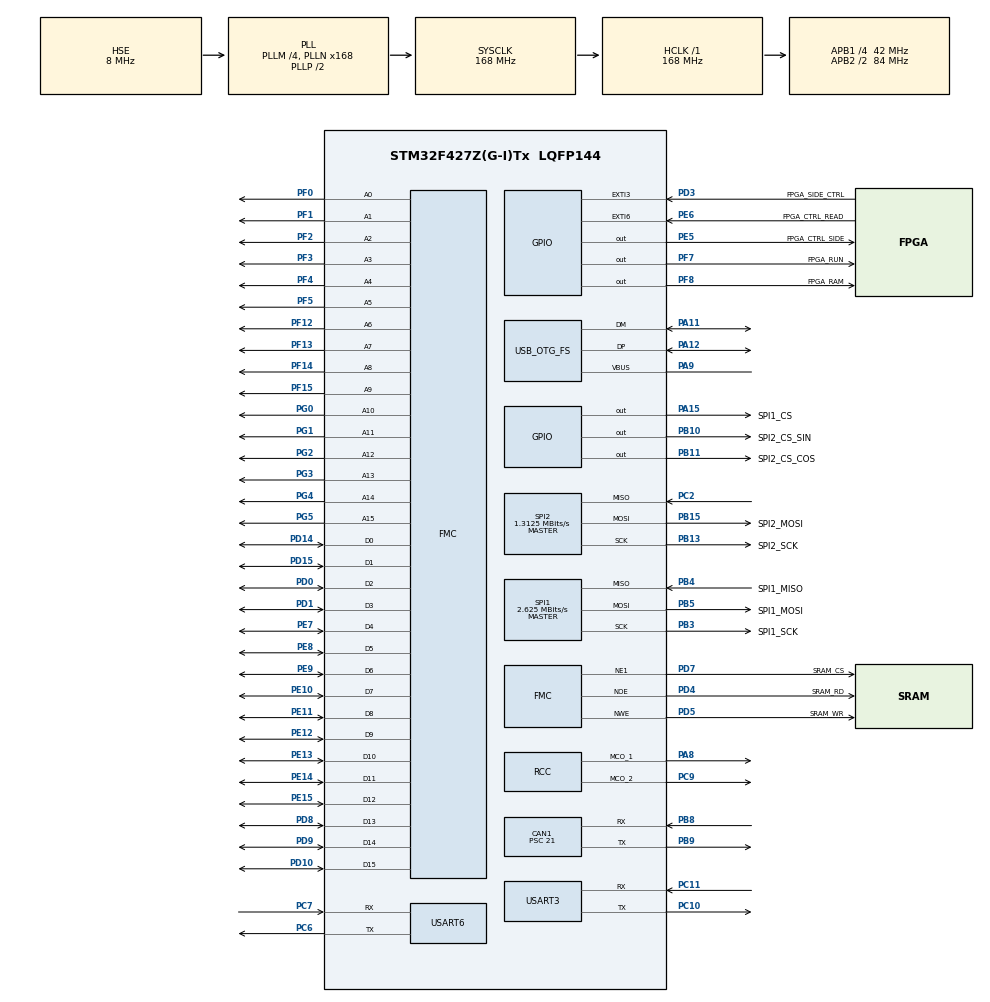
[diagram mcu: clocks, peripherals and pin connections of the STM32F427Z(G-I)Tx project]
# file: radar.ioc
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CAN1.BS1=CAN_BS1_6TQ
CAN1.CalculateBaudRate=250000
CAN1.CalculateTimeBit=4000
CAN1.CalculateTimeQuantum=500.0
CAN1.Prescaler=21
FMC.AddressSetupTime1=2
FMC.BusTurnAroundDuration1=0
FMC.DataSetupTime1=8
FMC.ExtendedMode1=FMC_EXTENDED_MODE_DISABLE
FMC.WriteOperation1=FMC_WRITE_OPERATION_ENABLE
FREERTOS.Events01=flagsEvent,Dynamic,NULL
FREERTOS.Mutexes01=usbBufferMutex,Dynamic,NULL,Available;paramMutex,Dynamic,NULL,Available
FREERTOS.Queues01=canRxQueue,16,uint16_t,0,Dynamic,NULL,NULL;usbRxQueue,16,uint16_t,0,Dynamic,NULL,NULL
FREERTOS.Tasks01=PhaserangTask,40,1024,StartPhaserangTask,As weak,NULL,Dynamic,NULL,NULL;UsbtoUsartTask,32,1024,StartUsbtoUsartTask,As weak,NULL,Dynamic,NULL,NULL;CAN_procTask,24,512,StartCAN_procTask,As weak,NULL,Dynamic,NULL,NULL
FREERTOS.Timers01=heartbeatTimer,heartCallback,osTimerPeriodic,As weak,NULL,Dynamic,NULL
FREERTOS.configTOTAL_HEAP_SIZE=32768
Mcu.Family=STM32F4
Mcu.Name=STM32F427Z(G-I)Tx
Mcu.Package=LQFP144
NVIC.CAN1_RX0_IRQn=true\:5\:0\:false\:false\:true\:true\:true\:true\:true
NVIC.CAN1_RX1_IRQn=true\:5\:0\:false\:false\:true\:true\:true\:true\:true
NVIC.CAN1_TX_IRQn=true\:5\:0\:false\:false\:true\:true\:true\:true\:true
NVIC.EXTI3_IRQn=true\:5\:0\:false\:false\:true\:true\:true\:true\:true
NVIC.EXTI9_5_IRQn=true\:5\:0\:true\:false\:true\:true\:true\:true\:true
NVIC.OTG_FS_IRQn=true\:5\:0\:false\:false\:true\:true\:false\:true\:true
NVIC.PriorityGroup=NVIC_PRIORITYGROUP_4
NVIC.TIM3_IRQn=true\:5\:0\:false\:false\:true\:true\:true\:true\:true
NVIC.TIM4_IRQn=true\:5\:0\:false\:false\:true\:true\:true\:true\:true
NVIC.TIM6_DAC_IRQn=true\:5\:0\:false\:false\:true\:true\:true\:true\:true
NVIC.TIM7_IRQn=true\:5\:0\:false\:false\:true\:true\:true\:true\:true
NVIC.TIM8_TRG_COM_TIM14_IRQn=true\:15\:0\:false\:false\:true\:false\:false\:true\:true
NVIC.TimeBase=TIM8_TRG_COM_TIM14_IRQn
NVIC.TimeBaseIP=TIM14
PA11.Mode=Device_Only
PA11.Signal=USB_OTG_FS_DM
PA12.Mode=Device_Only
PA12.Signal=USB_OTG_FS_DP
PA13.Mode=Serial_Wire
PA13.Signal=SYS_JTMS-SWDIO
PA14.Mode=Serial_Wire
PA14.Signal=SYS_JTCK-SWCLK
PA15.GPIO_Label=SPI1_CS
PA15.GPIO_PuPd=GPIO_PULLUP
PA15.GPIO_Speed=GPIO_SPEED_FREQ_HIGH
PA15.PinState=GPIO_PIN_SET
PA15.Signal=GPIO_Output
PA8.Mode=Clock-out-1
PA8.Signal=RCC_MCO_1
PA9.Mode=Activate_VBUS
PA9.Signal=USB_OTG_FS_VBUS
PB10.GPIO_Label=SPI2_CS_SIN
PB10.GPIO_PuPd=GPIO_PULLUP
PB10.GPIO_Speed=GPIO_SPEED_FREQ_HIGH
PB10.PinState=GPIO_PIN_SET
PB10.Signal=GPIO_Output
PB11.GPIO_Label=SPI2_CS_COS
PB11.GPIO_ModeDefaultOutputPP=GPIO_MODE_OUTPUT_PP
PB11.GPIO_PuPd=GPIO_PULLUP
PB11.GPIO_Speed=GPIO_SPEED_FREQ_HIGH
PB11.PinState=GPIO_PIN_SET
PB11.Signal=GPIO_Output
PB13.GPIO_Label=SPI2_SCK
PB13.GPIO_PuPd=GPIO_PULLDOWN
PB13.Mode=Full_Duplex_Master
PB13.Signal=SPI2_SCK
PB15.GPIO_Label=SPI2_MOSI
PB15.GPIO_PuPd=GPIO_PULLDOWN
PB15.Mode=Full_Duplex_Master
PB15.Signal=SPI2_MOSI
PB3.GPIO_Label=SPI1_SCK
PB3.GPIO_PuPd=GPIO_PULLUP
PB3.Mode=Full_Duplex_Master
PB3.Signal=SPI1_SCK
PB4.GPIO_Label=SPI1_MISO
PB4.GPIO_PuPd=GPIO_PULLUP
PB4.Mode=Full_Duplex_Master
PB4.Signal=SPI1_MISO
PB5.GPIO_Label=SPI1_MOSI
PB5.GPIO_PuPd=GPIO_PULLUP
PB5.Mode=Full_Duplex_Master
PB5.Signal=SPI1_MOSI
PB8.Mode=CAN_Activate
PB8.Signal=CAN1_RX
PB9.Mode=CAN_Activate
PB9.Signal=CAN1_TX
PC10.Mode=Asynchronous
PC10.Signal=USART3_TX
PC11.Mode=Asynchronous
PC11.Signal=USART3_RX
PC2.Mode=Full_Duplex_Master
PC2.Signal=SPI2_MISO
PC6.Mode=Asynchronous
PC6.Signal=USART6_TX
PC7.Mode=Asynchronous
PC7.Signal=USART6_RX
PC9.Mode=Clock-out-2
PC9.Signal=RCC_MCO_2
PD0.Signal=FMC_D2_DA2
PD1.Signal=FMC_D3_DA3
PD10.Signal=FMC_D15_DA15
PD14.Signal=FMC_D0_DA0
PD15.Signal=FMC_D1_DA1
PD3.GPIO_Label=FPGA_SIDE_CTRL
PD3.GPIO_ModeDefaultEXTI=GPIO_MODE_IT_RISING_FALLING
PD3.GPIO_PuPd=GPIO_NOPULL
PD3.Signal=GPXTI3
PD4.GPIO_Label=SRAM_RD
PD4.Signal=FMC_NOE
PD5.GPIO_Label=SRAM_WR
PD5.Signal=FMC_NWE
PD7.GPIO_Label=SRAM_CS
PD7.Mode=NorPsramChipSelect1_1
PD7.Signal=FMC_NE1
PD8.Signal=FMC_D13_DA13
PD9.Signal=FMC_D14_DA14
PE10.Signal=FMC_D7_DA7
PE11.Signal=FMC_D8_DA8
PE12.Signal=FMC_D9_DA9
PE13.Signal=FMC_D10_DA10
PE14.Signal=FMC_D11_DA11
PE15.Signal=FMC_D12_DA12
PE5.GPIO_Label=FPGA_CTRL_SIDE
PE5.GPIO_PuPd=GPIO_PULLDOWN
PE5.GPIO_Speed=GPIO_SPEED_FREQ_HIGH
PE5.Signal=GPIO_Output
PE6.GPIO_Label=FPGA_CTRL_READ
PE6.GPIO_PuPd=GPIO_PULLDOWN
PE6.Signal=GPXTI6
PE7.Signal=FMC_D4_DA4
PE8.Signal=FMC_D5_DA5
PE9.Signal=FMC_D6_DA6
PF0.Signal=FMC_A0
PF1.Signal=FMC_A1
PF12.Signal=FMC_A6
PF13.Signal=FMC_A7
PF14.Signal=FMC_A8
PF15.Signal=FMC_A9
PF2.Signal=FMC_A2
PF3.Signal=FMC_A3
PF4.Signal=FMC_A4
PF5.Signal=FMC_A5
PF7.GPIO_Label=FPGA_RUN
PF7.GPIO_PuPd=GPIO_PULLDOWN
PF7.GPIO_Speed=GPIO_SPEED_FREQ_HIGH
PF7.Signal=GPIO_Output
PF8.GPIO_Label=FPGA_RAM
PF8.GPIO_Speed=GPIO_SPEED_FREQ_HIGH
PF8.Signal=GPIO_Output
PG0.Signal=FMC_A10
PG1.Signal=FMC_A11
PG2.Signal=FMC_A12
PG3.Signal=FMC_A13
PG4.Signal=FMC_A14_BA0
PG5.Signal=FMC_A15_BA1
PH0/OSC_IN.Mode=HSE-External-Oscillator
PH0/OSC_IN.Signal=RCC_OSC_IN
PH1/OSC_OUT.Mode=HSE-External-Oscillator
PH1/OSC_OUT.Signal=RCC_OSC_OUT
ProjectManager.HeapSize=0x400
ProjectManager.StackSize=0x800
ProjectManager.TargetToolchain=MDK-ARM V5.32
RCC.48MHZClocksFreq_Value=48000000
RCC.AHBFreq_Value=168000000
RCC.APB1CLKDivider=RCC_HCLK_DIV4
RCC.APB1Freq_Value=42000000
RCC.APB1TimFreq_Value=84000000
RCC.APB2CLKDivider=RCC_HCLK_DIV2
RCC.APB2Freq_Value=84000000
RCC.APB2TimFreq_Value=168000000
RCC.CortexFreq_Value=168000000
RCC.HCLKFreq_Value=168000000
RCC.HSE_VALUE=8000000
RCC.HSI_VALUE=16000000
RCC.LSE_VALUE=32768
RCC.PLLM=4
RCC.PLLN=168
RCC.PLLQ=7
RCC.RCC_MCODiv2=RCC_MCODIV_2
RCC.SYSCLKFreq_VALUE=168000000
RCC.SYSCLKSource=RCC_SYSCLKSOURCE_PLLCLK
RCC.VCOOutputFreq_Value=336000000
SH.FMC_A0.0=FMC_A0,16b-a1
SH.FMC_A1.0=FMC_A1,16b-a1
SH.FMC_A10.0=FMC_A10,16b-a1
SH.FMC_A11.0=FMC_A11,16b-a1
SH.FMC_A12.0=FMC_A12,16b-a1
SH.FMC_A13.0=FMC_A13,16b-a1
SH.FMC_A14_BA0.0=FMC_A14,16b-a1
SH.FMC_A15_BA1.0=FMC_A15,16b-a1
SH.FMC_A2.0=FMC_A2,16b-a1
SH.FMC_A3.0=FMC_A3,16b-a1
SH.FMC_A4.0=FMC_A4,16b-a1
SH.FMC_A5.0=FMC_A5,16b-a1
SH.FMC_A6.0=FMC_A6,16b-a1
SH.FMC_A7.0=FMC_A7,16b-a1
SH.FMC_A8.0=FMC_A8,16b-a1
SH.FMC_A9.0=FMC_A9,16b-a1
SH.FMC_D0_DA0.0=FMC_D0,16b-d1
SH.FMC_D10_DA10.0=FMC_D10,16b-d1
SH.FMC_D11_DA11.0=FMC_D11,16b-d1
SH.FMC_D12_DA12.0=FMC_D12,16b-d1
SH.FMC_D13_DA13.0=FMC_D13,16b-d1
SH.FMC_D14_DA14.0=FMC_D14,16b-d1
SH.FMC_D15_DA15.0=FMC_D15,16b-d1
SH.FMC_D1_DA1.0=FMC_D1,16b-d1
SH.FMC_D2_DA2.0=FMC_D2,16b-d1
SH.FMC_D3_DA3.0=FMC_D3,16b-d1
SH.FMC_D4_DA4.0=FMC_D4,16b-d1
SH.FMC_D5_DA5.0=FMC_D5,16b-d1
SH.FMC_D6_DA6.0=FMC_D6,16b-d1
SH.FMC_D7_DA7.0=FMC_D7,16b-d1
SH.FMC_D8_DA8.0=FMC_D8,16b-d1
SH.FMC_D9_DA9.0=FMC_D9,16b-d1
SH.FMC_NOE.0=FMC_NOE,Sram1
SH.FMC_NWE.0=FMC_NWE,Sram1
SPI1.BaudRatePrescaler=SPI_BAUDRATEPRESCALER_32
SPI1.CLKPhase=SPI_PHASE_2EDGE
SPI1.CLKPolarity=SPI_POLARITY_HIGH
SPI1.CalculateBaudRate=2.625 MBits/s
SPI1.DataSize=SPI_DATASIZE_16BIT
SPI1.Direction=SPI_DIRECTION_2LINES
SPI1.Mode=SPI_MODE_MASTER
SPI1.VirtualType=VM_MASTER
SPI2.BaudRatePrescaler=SPI_BAUDRATEPRESCALER_32
SPI2.CalculateBaudRate=1.3125 MBits/s
SPI2.Direction=SPI_DIRECTION_2LINES
SPI2.Mode=SPI_MODE_MASTER
SPI2.VirtualType=VM_MASTER
TIM3.AutoReloadPreload=TIM_AUTORELOAD_PRELOAD_ENABLE
TIM3.Period=30000-1
TIM3.Prescaler=8400-1
TIM4.AutoReloadPreload=TIM_AUTORELOAD_PRELOAD_ENABLE
TIM4.Period=105-1
TIM4.Prescaler=84-1
TIM5.AutoReloadPreload=TIM_AUTORELOAD_PRELOAD_ENABLE
TIM6.AutoReloadPreload=TIM_AUTORELOAD_PRELOAD_ENABLE
TIM6.Period=60000-1
TIM6.Prescaler=8400-1
TIM7.AutoReloadPreload=TIM_AUTORELOAD_PRELOAD_ENABLE
TIM7.Period=600-1
TIM7.Prescaler=8400-1
USART3.VirtualMode=VM_ASYNC
USART6.VirtualMode=VM_ASYNC
USB_DEVICE.CLASS_NAME_FS=CDC
USB_DEVICE.VirtualMode-CDC_FS=Cdc
USB_DEVICE.VirtualModeFS=Cdc_FS
USB_OTG_FS.VirtualMode=Device_Only
VP_FREERTOS_VS_CMSIS_V2.Mode=CMSIS_V2
VP_SYS_VS_tim14.Mode=TIM14
VP_TIM3_VS_ClockSourceINT.Mode=Internal
VP_TIM4_VS_ClockSourceINT.Mode=Internal
VP_TIM5_VS_ClockSourceINT.Mode=Internal
VP_TIM6_VS_ClockSourceINT.Mode=Enable_Timer
VP_TIM7_VS_ClockSourceINT.Mode=Enable_Timer
VP_USB_DEVICE_VS_USB_DEVICE_CDC_FS.Mode=CDC_FS
board=custom

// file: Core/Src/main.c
/* USER CODE BEGIN Header */
/**
 ******************************************************************************
 * @file           : main.c
 * @brief          : Main program body
 ******************************************************************************
 * @attention
 *
 * Copyright (c) 2025 STMicroelectronics.
 * All rights reserved.
 *
 * This software is licensed under terms that can be found in the LICENSE file
 * in the root directory of this software component.
 * If no LICENSE file comes with this software, it is provided AS-IS.
 *
 ******************************************************************************
 */
/* USER CODE END Header */
#include "main.h"
#include "cmsis_os.h"
#include "can.h"
#include "spi.h"
#include "tim.h"
#include "usart.h"
#include "usb_device.h"
#include "gpio.h"
#include "fmc.h"

/* USER CODE BEGIN Includes */
#include "usbd_core.h"
#include "usbd_desc.h"
#include "usbd_cdc.h"
#include "spi.h"
#include "data_process.h"
#include "com_process.h"
#include <math.h>
#include "usbd_cdc_if.h"
/* USER CODE END Includes */

/* USER CODE BEGIN PV */
uint8_t ws_ds_flag;
uint8_t tigger_error_flag = 0;
uint32_t peak_pos;
volatile uint16_t peak_pos_l, peak_pos_h;

/* USER CODE END PV */

void SystemClock_Config(void);
void MX_FREERTOS_Init(void);

int main(void)
{

  /* MCU Configuration--------------------------------------------------------*/

  /* Reset of all peripherals, Initializes the Flash interface and the Systick. */
  HAL_Init();

  /* Configure the system clock */
  SystemClock_Config();

  /* USER CODE BEGIN SysInit */
  HAL_Delay(10000);
  /* USER CODE END SysInit */

  /* Initialize all configured peripherals */
  MX_GPIO_Init();
  MX_FMC_Init();
  MX_SPI1_Init();
  MX_SPI2_Init();
  MX_CAN1_Init();
  MX_USART3_UART_Init();
  MX_USART6_UART_Init();
  MX_TIM3_Init();
  MX_TIM5_Init();
  MX_TIM6_Init();
  MX_TIM4_Init();
  MX_TIM7_Init();
  /* USER CODE BEGIN 2 */

  // 参数初始化
  data_process_init();

  spi2_write_gain();
  // 配置电位器 AD5290

  /* USER CODE END 2 */

  /* Init scheduler */
  osKernelInitialize();  /* Call init function for freertos objects (in cmsis_os2.c) */
  MX_FREERTOS_Init();

  /* Start scheduler */
  osKernelStart();

  /* We should never get here as control is now taken by the scheduler */

  /* Infinite loop */
  while (1)
  {

  }
}

void SystemClock_Config(void)
{
  RCC_OscInitTypeDef RCC_OscInitStruct = {0};
  RCC_ClkInitTypeDef RCC_ClkInitStruct = {0};

  /** Configure the main internal regulator output voltage
  */
  __HAL_RCC_PWR_CLK_ENABLE();
  __HAL_PWR_VOLTAGESCALING_CONFIG(PWR_REGULATOR_VOLTAGE_SCALE1);

  /** Initializes the RCC Oscillators according to the specified parameters
  * in the RCC_OscInitTypeDef structure.
  */
  RCC_OscInitStruct.OscillatorType = RCC_OSCILLATORTYPE_HSI|RCC_OSCILLATORTYPE_HSE;
  RCC_OscInitStruct.HSEState = RCC_HSE_ON;
  RCC_OscInitStruct.HSIState = RCC_HSI_ON;
  RCC_OscInitStruct.HSICalibrationValue = RCC_HSICALIBRATION_DEFAULT;
  RCC_OscInitStruct.PLL.PLLState = RCC_PLL_ON;
  RCC_OscInitStruct.PLL.PLLSource = RCC_PLLSOURCE_HSE;
  RCC_OscInitStruct.PLL.PLLM = 4;
  RCC_OscInitStruct.PLL.PLLN = 168;
  RCC_OscInitStruct.PLL.PLLP = RCC_PLLP_DIV2;
  RCC_OscInitStruct.PLL.PLLQ = 7;
  if (HAL_RCC_OscConfig(&RCC_OscInitStruct) != HAL_OK)
  {
    Error_Handler();
  }

  /** Initializes the CPU, AHB and APB buses clocks
  */
  RCC_ClkInitStruct.ClockType = RCC_CLOCKTYPE_HCLK|RCC_CLOCKTYPE_SYSCLK
                              |RCC_CLOCKTYPE_PCLK1|RCC_CLOCKTYPE_PCLK2;
  RCC_ClkInitStruct.SYSCLKSource = RCC_SYSCLKSOURCE_PLLCLK;
  RCC_ClkInitStruct.AHBCLKDivider = RCC_SYSCLK_DIV1;
  RCC_ClkInitStruct.APB1CLKDivider = RCC_HCLK_DIV4;
  RCC_ClkInitStruct.APB2CLKDivider = RCC_HCLK_DIV2;

  if (HAL_RCC_ClockConfig(&RCC_ClkInitStruct, FLASH_LATENCY_5) != HAL_OK)
  {
    Error_Handler();
  }
  HAL_RCC_MCOConfig(RCC_MCO1, RCC_MCO1SOURCE_HSI, RCC_MCODIV_1);
  HAL_RCC_MCOConfig(RCC_MCO2, RCC_MCO2SOURCE_SYSCLK, RCC_MCODIV_2);
}

//void HAL_TIM_PeriodElapsedCallback(TIM_HandleTypeDef *htim)
//{
  /* USER CODE BEGIN Callback 0 */
//
  /* USER CODE END Callback 0 */
//  if (htim->Instance == TIM14)
//  {
//    HAL_IncTick();
//  }
  /* USER CODE BEGIN Callback 1 */
//
  /* USER CODE END Callback 1 */
//}

void Error_Handler(void)
{
  __disable_irq();
  while (1)
  {
  }
}

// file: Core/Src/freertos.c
/* USER CODE BEGIN Header */
/**
 ******************************************************************************
 * File Name          : freertos.c
 * Description        : Code for freertos applications
 ******************************************************************************
 * @attention
 *
 * Copyright (c) 2025 STMicroelectronics.
 * All rights reserved.
 *
 * This software is licensed under terms that can be found in the LICENSE file
 * in the root directory of this software component.
 * If no LICENSE file comes with this software, it is provided AS-IS.
 *
 ******************************************************************************
 */
/* USER CODE END Header */

#include "FreeRTOS.h"
#include "task.h"
#include "main.h"
#include "cmsis_os.h"

/* USER CODE BEGIN Includes */
#include "usbd_core.h"
#include "usbd_desc.h"
#include "usbd_cdc.h"
#include "spi.h"
#include "data_process.h"
#include "com_process.h"
#include <math.h>
#include "usbd_cdc_if.h"
#include "can.h"
#include "tim.h"
#include "usart.h"
#include "usb_device.h"
#include "gpio.h"
#include "fmc.h"
#include "queue.h"
#include "event_groups.h"
#include "semphr.h"
#include "PhaserangTask.h"
#include "UsbtoUsartTask.h"
#include "CAN_procTask.h"
/* USER CODE END Includes */

/* USER CODE BEGIN PD */
#define SRAM_READ_SIZE 40000
#define buf_len 1000
#define data_num (buf_len / sizeof(uint16_t))

/* USER CODE END PD */

/* Definitions for PhaserangTask */
osThreadId_t PhaserangTaskHandle;
const osThreadAttr_t PhaserangTask_attributes = {
  .name = "PhaserangTask",
  .stack_size = 1024 * 4,
  .priority = (osPriority_t) osPriorityHigh,
};
/* Definitions for UsbtoUsartTask */
osThreadId_t UsbtoUsartTaskHandle;
const osThreadAttr_t UsbtoUsartTask_attributes = {
  .name = "UsbtoUsartTask",
  .stack_size = 1024 * 4,
  .priority = (osPriority_t) osPriorityAboveNormal,
};
/* Definitions for CAN_procTask */
osThreadId_t CAN_procTaskHandle;
const osThreadAttr_t CAN_procTask_attributes = {
  .name = "CAN_procTask",
  .stack_size = 512 * 4,
  .priority = (osPriority_t) osPriorityNormal,
};
/* Definitions for canRxQueue */
osMessageQueueId_t canRxQueueHandle;
const osMessageQueueAttr_t canRxQueue_attributes = {
  .name = "canRxQueue"
};
/* Definitions for usbRxQueue */
osMessageQueueId_t usbRxQueueHandle;
const osMessageQueueAttr_t usbRxQueue_attributes = {
  .name = "usbRxQueue"
};
/* Definitions for heartbeatTimer */
osTimerId_t heartbeatTimerHandle;
const osTimerAttr_t heartbeatTimer_attributes = {
  .name = "heartbeatTimer"
};
/* Definitions for usbBufferMutex */
osMutexId_t usbBufferMutexHandle;
const osMutexAttr_t usbBufferMutex_attributes = {
  .name = "usbBufferMutex"
};
/* Definitions for paramMutex */
osMutexId_t paramMutexHandle;
const osMutexAttr_t paramMutex_attributes = {
  .name = "paramMutex"
};
/* Definitions for flagsEvent */
EventGroupHandle_t flagsEventHandle;
const osEventFlagsAttr_t flagsEvent_attributes = {
  .name = "flagsEvent"
};

void StartPhaserangTask(void *argument);
void StartUsbtoUsartTask(void *argument);
void StartCAN_procTask(void *argument);
void heartCallback(void *argument);

void MX_FREERTOS_Init(void); /* (MISRA C 2004 rule 8.1) */

void MX_FREERTOS_Init(void) {
  /* Create the mutex(es) */
  /* creation of usbBufferMutex */
  usbBufferMutexHandle = osMutexNew(&usbBufferMutex_attributes);

  /* creation of paramMutex */
  paramMutexHandle = osMutexNew(&paramMutex_attributes);

  /* Create the timer(s) */
  /* creation of heartbeatTimer */
  heartbeatTimerHandle = osTimerNew(heartCallback, osTimerPeriodic, NULL, &heartbeatTimer_attributes);

  /* USER CODE BEGIN RTOS_TIMERS */
  osTimerStart(heartbeatTimerHandle, 105U);
  /* start timers, add new ones, ... */
  /* USER CODE END RTOS_TIMERS */

  /* Create the queue(s) */
  /* creation of canRxQueue */
  canRxQueueHandle = osMessageQueueNew(16, sizeof(CanMessage_t), &canRxQueue_attributes);

  /* creation of usbRxQueue */
  usbRxQueueHandle = osMessageQueueNew (16, sizeof(uint16_t), &usbRxQueue_attributes);

  /* Create the thread(s) */
  /* creation of PhaserangTask */
  PhaserangTaskHandle = osThreadNew(StartPhaserangTask, NULL, &PhaserangTask_attributes);

  /* creation of UsbtoUsartTask */
  UsbtoUsartTaskHandle = osThreadNew(StartUsbtoUsartTask, NULL, &UsbtoUsartTask_attributes);

  /* creation of CAN_procTask */
  CAN_procTaskHandle = osThreadNew(StartCAN_procTask, NULL, &CAN_procTask_attributes);

  /* creation of flagsEvent */
  flagsEventHandle = xEventGroupCreate();

  /* USER CODE BEGIN RTOS_EVENTS */
  /* add events, ... */

  if (CAN_Enable_RxInterrupt() != HAL_OK)
  {

  }
  /* USER CODE END RTOS_EVENTS */

}

__weak void StartPhaserangTask(void *argument)
{
  /* init code for USB_DEVICE */
  for(;;)
  {
    osDelay(1);
  }
}

__weak void StartUsbtoUsartTask(void *argument)
{
  for(;;)
  {
    osDelay(1);
  }
}

__weak void StartCAN_procTask(void *argument)
{
  for(;;)
  {
    osDelay(1);
  }
}

/* heartCallback function */
__weak void heartCallback(void *argument)
{
}
